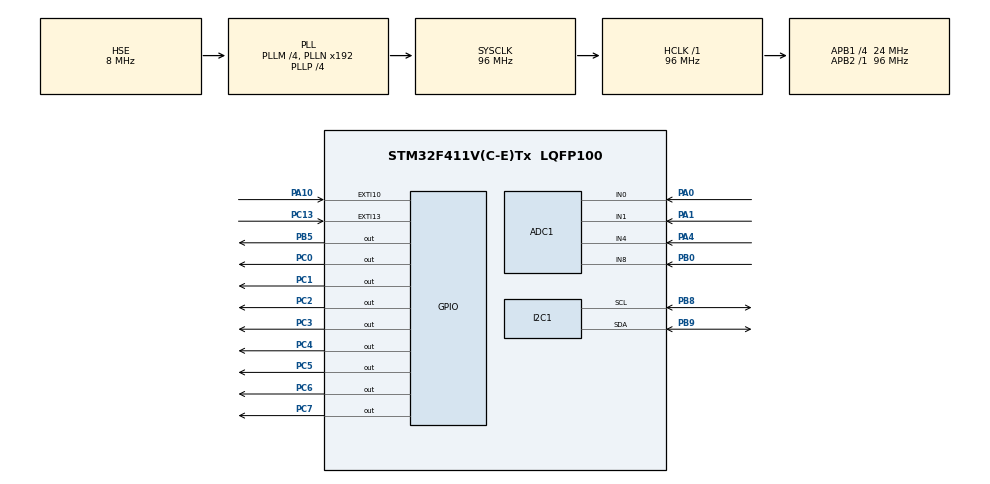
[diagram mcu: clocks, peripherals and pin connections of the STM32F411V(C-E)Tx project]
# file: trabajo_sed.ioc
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ADC1.Channel-1\#ChannelRegularConversion=ADC_CHANNEL_0
ADC1.Channel-2\#ChannelRegularConversion=ADC_CHANNEL_1
ADC1.Channel-3\#ChannelRegularConversion=ADC_CHANNEL_4
ADC1.Channel-4\#ChannelRegularConversion=ADC_CHANNEL_8
ADC1.ContinuousConvMode=DISABLE
ADC1.DiscontinuousConvMode=ENABLE
ADC1.InjNumberOfConversion=0
ADC1.NbrOfConversion=4
ADC1.NbrOfConversionFlag=1
ADC1.Rank-1\#ChannelRegularConversion=1
ADC1.Rank-2\#ChannelRegularConversion=2
ADC1.Rank-3\#ChannelRegularConversion=3
ADC1.Rank-4\#ChannelRegularConversion=4
ADC1.SamplingTime-1\#ChannelRegularConversion=ADC_SAMPLETIME_144CYCLES
ADC1.SamplingTime-2\#ChannelRegularConversion=ADC_SAMPLETIME_144CYCLES
ADC1.SamplingTime-3\#ChannelRegularConversion=ADC_SAMPLETIME_144CYCLES
ADC1.SamplingTime-4\#ChannelRegularConversion=ADC_SAMPLETIME_144CYCLES
ADC1.ScanConvMode=ENABLE
ADC1.master=1
Mcu.Family=STM32F4
Mcu.Name=STM32F411V(C-E)Tx
Mcu.Package=LQFP100
NVIC.EXTI15_10_IRQn=true\:0\:0\:false\:false\:true\:true\:true\:true
NVIC.PriorityGroup=NVIC_PRIORITYGROUP_0
NVIC.TIM2_IRQn=true\:0\:0\:false\:false\:true\:true\:true\:true
PA0-WKUP.Signal=ADCx_IN0
PA1.Signal=ADCx_IN1
PA10.GPIO_PuPd=GPIO_PULLDOWN
PA10.Signal=GPXTI10
PA13.Mode=Serial_Wire
PA13.Signal=SYS_JTMS-SWDIO
PA14.Mode=Serial_Wire
PA14.Signal=SYS_JTCK-SWCLK
PA4.Signal=ADCx_IN4
PB0.Signal=ADCx_IN8
PB5.Signal=GPIO_Output
PB8.Mode=I2C
PB8.Signal=I2C1_SCL
PB9.Mode=I2C
PB9.Signal=I2C1_SDA
PC0.Signal=GPIO_Output
PC1.Signal=GPIO_Output
PC13-ANTI_TAMP.GPIO_PuPd=GPIO_PULLDOWN
PC13-ANTI_TAMP.Signal=GPXTI13
PC2.Signal=GPIO_Output
PC3.Signal=GPIO_Output
PC4.Signal=GPIO_Output
PC5.Signal=GPIO_Output
PC6.Signal=GPIO_Output
PC7.Signal=GPIO_Output
PH0\ -\ OSC_IN.Mode=HSE-External-Oscillator
PH0\ -\ OSC_IN.Signal=RCC_OSC_IN
PH1\ -\ OSC_OUT.Mode=HSE-External-Oscillator
PH1\ -\ OSC_OUT.Signal=RCC_OSC_OUT
ProjectManager.HeapSize=0x200
ProjectManager.StackSize=0x400
ProjectManager.TargetToolchain=STM32CubeIDE
RCC.48MHZClocksFreq_Value=48000000
RCC.AHBFreq_Value=96000000
RCC.APB1CLKDivider=RCC_HCLK_DIV4
RCC.APB1Freq_Value=24000000
RCC.APB1TimFreq_Value=48000000
RCC.APB2Freq_Value=96000000
RCC.APB2TimFreq_Value=96000000
RCC.CortexFreq_Value=96000000
RCC.HCLKFreq_Value=96000000
RCC.HSE_VALUE=8000000
RCC.HSI_VALUE=16000000
RCC.LSE_VALUE=32768
RCC.PLLI2SM=5
RCC.PLLI2SN=200
RCC.PLLM=4
RCC.PLLP=RCC_PLLP_DIV4
RCC.PLLQ=8
RCC.PLLSourceVirtual=RCC_PLLSOURCE_HSE
RCC.SYSCLKFreq_VALUE=96000000
RCC.SYSCLKSource=RCC_SYSCLKSOURCE_PLLCLK
RCC.VCOOutputFreq_Value=384000000
SH.ADCx_IN0.0=ADC1_IN0,IN0
SH.ADCx_IN1.0=ADC1_IN1,IN1
SH.ADCx_IN4.0=ADC1_IN4,IN4
SH.ADCx_IN8.0=ADC1_IN8,IN8
TIM2.Period=3000
TIM2.Prescaler=16000
VP_TIM2_VS_ClockSourceINT.Mode=Internal
board=STM32F411E-DISCO

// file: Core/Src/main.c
/* USER CODE BEGIN Header */
/**
  **************************
  * @file           : main.c
  * @brief          : Main program body
  **************************
  * @attention
  *
  * Copyright (c) 2026 STMicroelectronics.
  * All rights reserved.
  *
  * This software is licensed under terms that can be found in the LICENSE file
  * in the root directory of this software component.
  * If no LICENSE file comes with this software, it is provided AS-IS.
  *
  **************************
  */
/* USER CODE END Header */
#include "main.h"

/* USER CODE BEGIN Includes */
#include "i2c-lcd.h"
#include <stdio.h> // Para poder usar sprintf
/* USER CODE BEGIN Includes */
#include "hardware.h"
#include "logica_juego.h"
/* USER CODE END Includes */

ADC_HandleTypeDef hadc1;

I2C_HandleTypeDef hi2c1;

TIM_HandleTypeDef htim2;

void SystemClock_Config(void);
static void MX_GPIO_Init(void);
static void MX_I2C1_Init(void);
static void MX_ADC1_Init(void);
static void MX_TIM2_Init(void);

int main(void)
{

  /* MCU Configuration--------------------------------------------------------*/

  /* Reset of all peripherals, Initializes the Flash interface and the Systick. */
  HAL_Init();

  /* Configure the system clock */
  SystemClock_Config();

  /* Initialize all configured peripherals */
  MX_GPIO_Init();
  MX_I2C1_Init();
  MX_ADC1_Init();
  MX_TIM2_Init();
  /* USER CODE BEGIN 2 */
  Hardware_Init(&hadc1, &hi2c1);
  Logica_Inicializar();

  // ENCENDER LA INTERRUPCIÓN DEL TEMPORIZADOR
  HAL_TIM_Base_Start_IT(&htim2);
  /* USER CODE END 2 */

  /* Infinite loop */
  while (1)
  {

    /* USER CODE BEGIN 3 */
	  Logica_Ejecutar_Ciclo();
	  HAL_Delay(10); // Estabilidad del sistema
	  }
  /* USER CODE END 3 */
}

void SystemClock_Config(void)
{
  RCC_OscInitTypeDef RCC_OscInitStruct = {0};
  RCC_ClkInitTypeDef RCC_ClkInitStruct = {0};

  /** Configure the main internal regulator output voltage
  */
  __HAL_RCC_PWR_CLK_ENABLE();
  __HAL_PWR_VOLTAGESCALING_CONFIG(PWR_REGULATOR_VOLTAGE_SCALE1);

  /** Initializes the RCC Oscillators according to the specified parameters
  * in the RCC_OscInitTypeDef structure.
  */
  RCC_OscInitStruct.OscillatorType = RCC_OSCILLATORTYPE_HSE;
  RCC_OscInitStruct.HSEState = RCC_HSE_ON;
  RCC_OscInitStruct.PLL.PLLState = RCC_PLL_ON;
  RCC_OscInitStruct.PLL.PLLSource = RCC_PLLSOURCE_HSE;
  RCC_OscInitStruct.PLL.PLLM = 4;
  RCC_OscInitStruct.PLL.PLLN = 192;
  RCC_OscInitStruct.PLL.PLLP = RCC_PLLP_DIV4;
  RCC_OscInitStruct.PLL.PLLQ = 8;
  if (HAL_RCC_OscConfig(&RCC_OscInitStruct) != HAL_OK)
  {
    Error_Handler();
  }

  /** Initializes the CPU, AHB and APB buses clocks
  */
  RCC_ClkInitStruct.ClockType = RCC_CLOCKTYPE_HCLK|RCC_CLOCKTYPE_SYSCLK
                              |RCC_CLOCKTYPE_PCLK1|RCC_CLOCKTYPE_PCLK2;
  RCC_ClkInitStruct.SYSCLKSource = RCC_SYSCLKSOURCE_PLLCLK;
  RCC_ClkInitStruct.AHBCLKDivider = RCC_SYSCLK_DIV1;
  RCC_ClkInitStruct.APB1CLKDivider = RCC_HCLK_DIV4;
  RCC_ClkInitStruct.APB2CLKDivider = RCC_HCLK_DIV1;

  if (HAL_RCC_ClockConfig(&RCC_ClkInitStruct, FLASH_LATENCY_3) != HAL_OK)
  {
    Error_Handler();
  }
}

static void MX_ADC1_Init(void)
{

  ADC_ChannelConfTypeDef sConfig = {0};

  /** Configure the global features of the ADC (Clock, Resolution, Data Alignment and number of conversion)
  */
  hadc1.Instance = ADC1;
  hadc1.Init.ClockPrescaler = ADC_CLOCK_SYNC_PCLK_DIV4;
  hadc1.Init.Resolution = ADC_RESOLUTION_12B;
  hadc1.Init.ScanConvMode = ENABLE;
  hadc1.Init.ContinuousConvMode = DISABLE;
  hadc1.Init.DiscontinuousConvMode = ENABLE;
  hadc1.Init.NbrOfDiscConversion = 1;
  hadc1.Init.ExternalTrigConvEdge = ADC_EXTERNALTRIGCONVEDGE_NONE;
  hadc1.Init.ExternalTrigConv = ADC_SOFTWARE_START;
  hadc1.Init.DataAlign = ADC_DATAALIGN_RIGHT;
  hadc1.Init.NbrOfConversion = 4;
  hadc1.Init.DMAContinuousRequests = DISABLE;
  hadc1.Init.EOCSelection = ADC_EOC_SINGLE_CONV;
  if (HAL_ADC_Init(&hadc1) != HAL_OK)
  {
    Error_Handler();
  }

  /** Configure for the selected ADC regular channel its corresponding rank in the sequencer and its sample time.
  */
  sConfig.Channel = ADC_CHANNEL_0;
  sConfig.Rank = 1;
  sConfig.SamplingTime = ADC_SAMPLETIME_144CYCLES;
  if (HAL_ADC_ConfigChannel(&hadc1, &sConfig) != HAL_OK)
  {
    Error_Handler();
  }

  /** Configure for the selected ADC regular channel its corresponding rank in the sequencer and its sample time.
  */
  sConfig.Channel = ADC_CHANNEL_1;
  sConfig.Rank = 2;
  if (HAL_ADC_ConfigChannel(&hadc1, &sConfig) != HAL_OK)
  {
    Error_Handler();
  }

  /** Configure for the selected ADC regular channel its corresponding rank in the sequencer and its sample time.
  */
  sConfig.Channel = ADC_CHANNEL_4;
  sConfig.Rank = 3;
  if (HAL_ADC_ConfigChannel(&hadc1, &sConfig) != HAL_OK)
  {
    Error_Handler();
  }

  /** Configure for the selected ADC regular channel its corresponding rank in the sequencer and its sample time.
  */
  sConfig.Channel = ADC_CHANNEL_8;
  sConfig.Rank = 4;
  if (HAL_ADC_ConfigChannel(&hadc1, &sConfig) != HAL_OK)
  {
    Error_Handler();
  }

}

static void MX_I2C1_Init(void)
{

  hi2c1.Instance = I2C1;
  hi2c1.Init.ClockSpeed = 100000;
  hi2c1.Init.DutyCycle = I2C_DUTYCYCLE_2;
  hi2c1.Init.OwnAddress1 = 0;
  hi2c1.Init.AddressingMode = I2C_ADDRESSINGMODE_7BIT;
  hi2c1.Init.DualAddressMode = I2C_DUALADDRESS_DISABLE;
  hi2c1.Init.OwnAddress2 = 0;
  hi2c1.Init.GeneralCallMode = I2C_GENERALCALL_DISABLE;
  hi2c1.Init.NoStretchMode = I2C_NOSTRETCH_DISABLE;
  if (HAL_I2C_Init(&hi2c1) != HAL_OK)
  {
    Error_Handler();
  }

}

static void MX_TIM2_Init(void)
{

  TIM_ClockConfigTypeDef sClockSourceConfig = {0};
  TIM_MasterConfigTypeDef sMasterConfig = {0};

  htim2.Instance = TIM2;
  htim2.Init.Prescaler = 16000;
  htim2.Init.CounterMode = TIM_COUNTERMODE_UP;
  htim2.Init.Period = 3000;
  htim2.Init.ClockDivision = TIM_CLOCKDIVISION_DIV1;
  htim2.Init.AutoReloadPreload = TIM_AUTORELOAD_PRELOAD_DISABLE;
  if (HAL_TIM_Base_Init(&htim2) != HAL_OK)
  {
    Error_Handler();
  }
  sClockSourceConfig.ClockSource = TIM_CLOCKSOURCE_INTERNAL;
  if (HAL_TIM_ConfigClockSource(&htim2, &sClockSourceConfig) != HAL_OK)
  {
    Error_Handler();
  }
  sMasterConfig.MasterOutputTrigger = TIM_TRGO_RESET;
  sMasterConfig.MasterSlaveMode = TIM_MASTERSLAVEMODE_DISABLE;
  if (HAL_TIMEx_MasterConfigSynchronization(&htim2, &sMasterConfig) != HAL_OK)
  {
    Error_Handler();
  }

}

static void MX_GPIO_Init(void)
{
  GPIO_InitTypeDef GPIO_InitStruct = {0};

  /* GPIO Ports Clock Enable */
  __HAL_RCC_GPIOC_CLK_ENABLE();
  __HAL_RCC_GPIOH_CLK_ENABLE();
  __HAL_RCC_GPIOA_CLK_ENABLE();
  __HAL_RCC_GPIOB_CLK_ENABLE();

  /*Configure GPIO pin Output Level */
  HAL_GPIO_WritePin(GPIOC, GPIO_PIN_0|GPIO_PIN_1|GPIO_PIN_2|GPIO_PIN_3
                          |GPIO_PIN_4|GPIO_PIN_5|GPIO_PIN_6|GPIO_PIN_7, GPIO_PIN_RESET);

  /*Configure GPIO pin Output Level */
  HAL_GPIO_WritePin(GPIOB, GPIO_PIN_5, GPIO_PIN_RESET);

  /*Configure GPIO pin : PC13 */
  GPIO_InitStruct.Pin = GPIO_PIN_13;
  GPIO_InitStruct.Mode = GPIO_MODE_IT_RISING;
  GPIO_InitStruct.Pull = GPIO_PULLDOWN;
  HAL_GPIO_Init(GPIOC, &GPIO_InitStruct);

  /*Configure GPIO pins : PC0 PC1 PC2 PC3
                           PC4 PC5 PC6 PC7 */
  GPIO_InitStruct.Pin = GPIO_PIN_0|GPIO_PIN_1|GPIO_PIN_2|GPIO_PIN_3
                          |GPIO_PIN_4|GPIO_PIN_5|GPIO_PIN_6|GPIO_PIN_7;
  GPIO_InitStruct.Mode = GPIO_MODE_OUTPUT_PP;
  GPIO_InitStruct.Pull = GPIO_NOPULL;
  GPIO_InitStruct.Speed = GPIO_SPEED_FREQ_LOW;
  HAL_GPIO_Init(GPIOC, &GPIO_InitStruct);

  /*Configure GPIO pin : PA10 */
  GPIO_InitStruct.Pin = GPIO_PIN_10;
  GPIO_InitStruct.Mode = GPIO_MODE_IT_RISING;
  GPIO_InitStruct.Pull = GPIO_PULLDOWN;
  HAL_GPIO_Init(GPIOA, &GPIO_InitStruct);

  /*Configure GPIO pin : PB5 */
  GPIO_InitStruct.Pin = GPIO_PIN_5;
  GPIO_InitStruct.Mode = GPIO_MODE_OUTPUT_PP;
  GPIO_InitStruct.Pull = GPIO_NOPULL;
  GPIO_InitStruct.Speed = GPIO_SPEED_FREQ_LOW;
  HAL_GPIO_Init(GPIOB, &GPIO_InitStruct);

  /* EXTI interrupt init*/
  HAL_NVIC_SetPriority(EXTI15_10_IRQn, 0, 0);
  HAL_NVIC_EnableIRQ(EXTI15_10_IRQn);

}

/* USER CODE BEGIN 4 */

// --- INTERRUPCIÓN DEL TEMPORIZADOR (Cada 1 segundo) ---
void HAL_TIM_PeriodElapsedCallback(TIM_HandleTypeDef *htim)
{
    if (htim->Instance == TIM2) {
        Logica_Timer_Callback(); // Llama a la lógica para restar tiempo
    }
}

void HAL_GPIO_EXTI_Callback(uint16_t GPIO_Pin)
{
    // RETARDO ANTI-RUIDO (Debounce Hardware simulado)
    for(int i=0; i<2000; i++) { __NOP(); }

    // SEGURIDAD PULL-DOWN:
    // Solo aceptamos la interrupción si el pin sigue siendo ALTO (3.3V)
    // Si fuera ruido eléctrico, ya habría bajado a 0.

    if (GPIO_Pin == GPIO_PIN_10) { // Botón Validar (PA10)
        if (HAL_GPIO_ReadPin(GPIOA, GPIO_PIN_10) == GPIO_PIN_SET) {
            Callback_Boton_Validar();
        }
    }
    else if (GPIO_Pin == GPIO_PIN_13) { // Botón Inicio (PC13)
        if (HAL_GPIO_ReadPin(GPIOC, GPIO_PIN_13) == GPIO_PIN_SET) {
            Callback_Boton_Inicio();
        }
    }
}
/* USER CODE END 4 */

void Error_Handler(void)
{
  __disable_irq();
  while (1)
  {
  }
}
